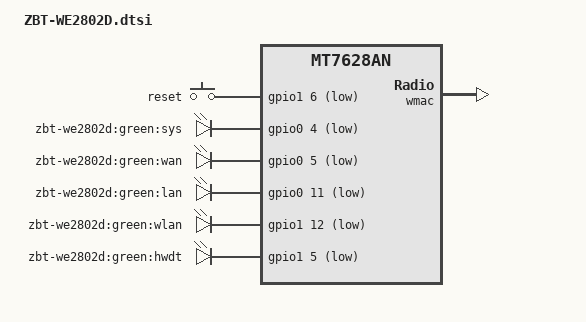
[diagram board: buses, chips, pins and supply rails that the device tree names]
#include <dt-bindings/input/input.h>
#include <dt-bindings/gpio/gpio.h>

#include "mt7628an.dtsi"

/ {
	compatible = "zbtlink,zbt-we2802d", "mediatek,mt7628an-soc";

	aliases {
		led-boot = &led_sys;
		led-failsafe = &led_sys;
		led-running = &led_sys;
		led-upgrade = &led_sys;
	};

	chosen {
		bootargs = "console=ttyS1,115200";
	};

	keys {
		compatible = "gpio-keys-polled";
		poll-interval = <20>;

		reset {
			label = "reset";
			gpios = <&gpio1 6 GPIO_ACTIVE_LOW>;
			linux,code = <KEY_RESTART>;
		};
	};

	leds {
		compatible = "gpio-leds";

		led_sys: sys {
			label = "zbt-we2802d:green:sys";
			gpios = <&gpio0 4 GPIO_ACTIVE_LOW>;
		};

		led_wan: wan {
			label = "zbt-we2802d:green:wan";
			gpios = <&gpio0 5 GPIO_ACTIVE_LOW>;
		};

		led_lan: lan {
			label = "zbt-we2802d:green:lan";
			gpios = <&gpio0 11 GPIO_ACTIVE_LOW>;
		};

		led_wlan: wlan {
			label = "zbt-we2802d:green:wlan";
			gpios = <&gpio1 12 GPIO_ACTIVE_LOW>;
		};

		led_hwdt: hwdt {
			label = "zbt-we2802d:green:hwdt";
			gpios = <&gpio1 5 GPIO_ACTIVE_LOW>;
			linux,default-trigger = "timer";
	        };
	};
};

&pinctrl {
	state_default: pinctrl0 {
		gpio {
			ralink,group = "p0led_an", "p1led_an", "p4led_an", "wdt", "wled_an";
			ralink,function = "gpio";
		};
	};
};

&wmac {
	status = "okay";
	ralink,mtd-eeprom = <&factory 0x4>;
};

&ethernet {
	mtd-mac-address = <&factory 0x2e>;
};
